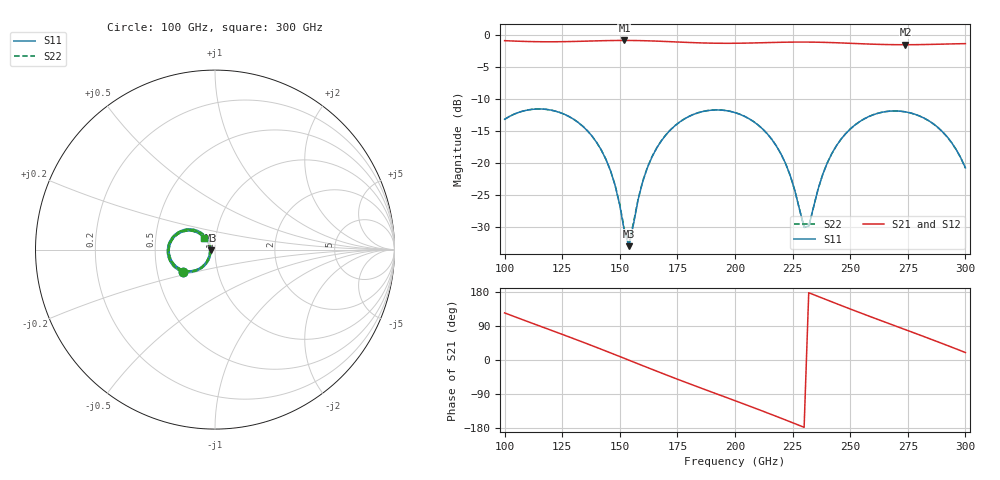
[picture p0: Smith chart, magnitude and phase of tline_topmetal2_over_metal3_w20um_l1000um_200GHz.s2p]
#  GHZ S DB R 50
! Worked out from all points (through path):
!   101 points, 100 GHz to 300 GHz, reference 50 ohm
!   highest |S21| = -0.79 dB at 152 GHz (marker M1); lowest = -1.5 dB at 274 GHz (marker M2)
!   group delay of S21, straight-line fit = 6.47 ps
!   lowest |S11| = -33.0 dB at 154 GHz (marker M3), VSWR 1.05, Z = 47.8 - j0.355 ohm
!   |S11| at or under -10 dB: start of sweep to end of sweep
!   |S22| runs from -32.5 to -11.5 dB; largest |S21 - S12| = 1e-13
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100  -13.15 -145.3  -0.82 124.3  -0.82 124.3  -13.15 -145.0
116  -11.53 -179.2  -0.99 88.0  -0.99 88.0  -11.53 -178.8
134  -14.26 143.7  -0.91 47.0  -0.91 47.0  -14.26 144.2
146  -21.25 124.7  -0.81 18.7  -0.81 18.7  -21.22 125.8
152  -30.72 145.4  -0.79 4.3  -0.79 4.3  -30.43 147.5
154  -33.04 -170.4  -0.79 -0.6  -0.79 -0.6  -32.51 -170.5
160  -22.85 -120.3  -0.83 -15.1  -0.83 -15.1  -22.78 -121.1
168  -16.54 -129.3  -0.92 -34.2  -0.92 -34.2  -16.52 -129.6
184  -12.12 -160.8  -1.16 -71.3  -1.16 -71.3  -12.11 -160.8
200  -12.10 166.8  -1.23 -107.4  -1.23 -107.4  -12.09 166.8
218  -17.35 133.7  -1.09 -148.9  -1.09 -148.9  -17.35 133.8
224  -22.00 129.6  -1.05 -163.2  -1.05 -163.2  -22.00 129.6
230  -30.07 165.4  -1.04 -177.6  -1.04 -177.6  -30.10 165.4
232  -29.91 -159.3  -1.05 177.6  -1.05 177.6  -29.96 -159.1
234  -27.03 -137.1  -1.05 172.8  -1.05 172.8  -27.06 -136.8
240  -20.02 -126.0  -1.10 158.3  -1.10 158.3  -20.03 -125.8
246  -16.28 -133.2  -1.18 144.1  -1.18 144.1  -16.28 -133.0
258  -12.73 -155.2  -1.35 116.2  -1.35 116.2  -12.73 -155.0
268  -11.85 -174.9  -1.44 93.5  -1.44 93.5  -11.85 -174.7
274  -11.98 173.4  -1.46 80.0  -1.46 80.0  -11.98 173.6
290  -15.08 143.7  -1.36 43.4  -1.36 43.4  -15.08 143.8
300  -20.75 133.4  -1.29 19.7  -1.29 19.7  -20.78 133.1
